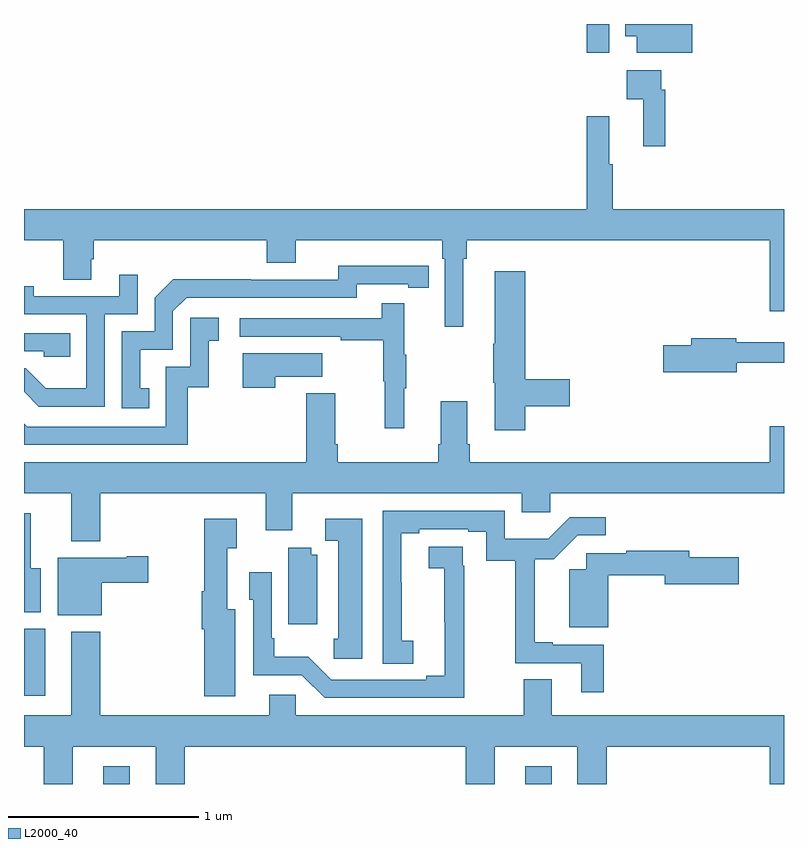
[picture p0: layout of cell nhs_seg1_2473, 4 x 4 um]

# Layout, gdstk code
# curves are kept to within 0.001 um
import gdstk
lib = gdstk.Library(unit=1e-6, precision=1e-09)
def R(c, l, rs):  # rectangles x0, y0, x1, y1
    for r in rs: c.add(gdstk.rectangle(r[:2], r[2:], *l))
def P(c, l, *ps):  # polygons
    for p in ps: c.add(gdstk.Polygon(p, *l))
L2000_40 = (2000, 40)

nhs_seg1_2473 = lib.new_cell('nhs_seg1_2473')
R(nhs_seg1_2473, L2000_40, [(245.417,554.199,245.557,554.293), (247.637,554.199,247.777,554.293), (245,554.664,245.113,555.016), (247.963,558.048,248.079,558.199)])
P(nhs_seg1_2473, L2000_40, [(248.518,558.199),(248.164,558.199),(248.164,558.134),(248.225,558.134),(248.225,558.047),(248.518,558.047)],
  [(248.375,557.852),(248.355,557.852),(248.355,557.956),(248.172,557.956),(248.172,557.804),(248.258,557.804),(248.258,557.556),(248.375,557.556)],
  [(245,557.06),(245.206,557.06),(245.206,556.852),(245.353,556.852),(245.353,556.962),(245.366,556.962),(245.366,557.06),(246.278,557.06),(246.278,556.943),(246.43,556.943),(246.43,557.06),(247.202,557.06),(247.202,556.964),(247.215,556.964),(247.215,556.605),(247.312,556.605),(247.312,556.964),(247.331,556.964),(247.331,557.06),(248.924,557.06),(248.924,556.686),(249,556.686),(249,557.224),(248.099,557.224),(248.099,557.46),(248.081,557.46),(248.081,557.713),(247.963,557.713),(247.963,557.224),(245,557.224)],
  [(245.66,556.281),(245.611,556.281),(245.611,556.485),(245.784,556.485),(245.784,556.686),(245.856,556.758),(246.75,556.758),(246.75,556.83),(247.022,556.83),(247.022,556.81),(247.13,556.81),(247.13,556.926),(246.654,556.927),(246.654,556.854),(246.194,556.854),(246.194,556.856),(245.786,556.856),(245.688,556.758),(245.688,556.581),(245.514,556.581),(245.514,556.176),(245.66,556.176)],
  [(247.637,556.186),(247.873,556.186),(247.873,556.328),(247.637,556.328),(247.637,556.897),(247.478,556.897),(247.478,556.517),(247.471,556.517),(247.471,556.311),(247.478,556.311),(247.478,556.062),(247.637,556.062)],
  [(245.424,556.671),(245.598,556.671),(245.598,556.879),(245.501,556.879),(245.501,556.767),(245.05,556.767),(245.05,556.819),(245,556.819),(245,556.671),(245.328,556.671),(245.328,556.282),(245.114,556.282),(245.01,556.386),(245,556.386),(245,556.263),(245.078,556.185),(245.424,556.185)],
  [(247.001,556.283),(247.012,556.283),(247.012,556.457),(247.001,556.457),(247.001,556.729),(246.883,556.729),(246.883,556.65),(246.135,556.65),(246.135,556.554),(246.667,556.554),(246.667,556.534),(246.891,556.534),(246.891,556.32),(246.898,556.32),(246.898,556.071),(247.001,556.071)],
  [(245.861,556.287),(245.972,556.287),(245.972,556.533),(246.025,556.533),(246.025,556.654),(245.874,556.654),(245.874,556.395),(245.745,556.395),(245.745,556.08),(245.016,556.08),(245,556.096),(245,555.984),(245.861,555.984)],
  [(245.243,556.572),(245,556.572),(245,556.476),(245.103,556.476),(245.103,556.449),(245.243,556.449)],
  [(248.752,556.416),(249,556.416),(249,556.525),(248.748,556.525),(248.748,556.544),(248.513,556.544),(248.513,556.508),(248.364,556.508),(248.364,556.366),(248.752,556.366)],
  [(246.323,556.343),(246.571,556.343),(246.571,556.465),(246.152,556.465),(246.152,556.284),(246.323,556.284)],
  [(245,555.728),(245.249,555.728),(245.249,555.476),(245.402,555.476),(245.402,555.728),(246.272,555.728),(246.272,555.534),(246.412,555.534),(246.412,555.728),(247.619,555.728),(247.619,555.63),(247.771,555.63),(247.771,555.728),(249,555.728),(249,556.081),(248.924,556.081),(248.924,555.892),(247.346,555.892),(247.346,555.988),(247.333,555.988),(247.333,556.213),(247.193,556.213),(247.193,555.988),(247.181,555.988),(247.181,555.892),(246.65,555.892),(246.65,555.988),(246.637,555.988),(246.637,556.255),(246.485,556.255),(246.485,555.892),(245,555.892)],
  [(248.051,554.931),(247.783,554.931),(247.783,554.944),(247.688,554.944),(247.688,555.381),(247.787,555.381),(247.914,555.507),(248.062,555.507),(248.062,555.603),(247.872,555.603),(247.759,555.49),(247.53,555.49),(247.53,555.636),(246.888,555.636),(246.888,554.833),(247.048,554.833),(247.048,554.953),(246.987,554.953),(246.987,555.257),(246.985,555.257),(246.985,555.52),(247.081,555.52),(247.081,555.54),(247.337,555.54),(247.337,555.526),(247.434,555.526),(247.434,555.373),(247.585,555.373),(247.585,554.835),(247.934,554.835),(247.934,554.682),(248.051,554.682)],
  [(245.089,555.334),(245.035,555.334),(245.035,555.625),(245,555.625),(245,555.104),(245.089,555.104)],
  [(246.112,555.118),(246.07,555.118),(246.07,555.439),(246.121,555.439),(246.121,555.595),(245.948,555.595),(245.948,555.214),(245.936,555.214),(245.936,555.014),(245.948,555.014),(245.948,554.661),(246.112,554.661)],
  [(246.781,555.595),(246.585,555.595),(246.585,555.48),(246.653,555.48),(246.653,554.964),(246.631,554.964),(246.631,554.859),(246.781,554.859)],
  [(247.316,555.347),(247.31,555.347),(247.31,555.449),(247.131,555.449),(247.131,555.334),(247.213,555.334),(247.214,554.768),(247.118,554.768),(247.118,554.748),(246.618,554.748),(246.497,554.869),(246.316,554.869),(246.316,554.965),(246.303,554.965),(246.303,555.313),(246.186,555.313),(246.186,555.168),(246.207,555.168),(246.207,554.772),(246.462,554.772),(246.582,554.652),(247.316,554.652)],
  [(246.544,555.406),(246.512,555.406),(246.512,555.443),(246.392,555.443),(246.392,555.039),(246.544,555.039)],
  [(248.074,555.298),(248.372,555.298),(248.372,555.251),(248.761,555.251),(248.761,555.393),(248.5,555.393),(248.5,555.427),(248.17,555.427),(248.17,555.414),(247.959,555.414),(247.959,555.328),(247.871,555.328),(247.871,555.023),(248.074,555.023)],
  [(245.41,555.257),(245.653,555.257),(245.653,555.399),(245.54,555.399),(245.54,555.391),(245.177,555.391),(245.177,555.086),(245.41,555.086)],
  [(245.257,554.396),(245.693,554.396),(245.693,554.199),(245.846,554.199),(245.846,554.396),(247.325,554.396),(247.325,554.199),(247.477,554.199),(247.477,554.396),(247.913,554.396),(247.913,554.199),(248.066,554.199),(248.066,554.396),(248.924,554.396),(248.924,554.199),(249,554.199),(249,554.56),(247.777,554.56),(247.777,554.75),(247.63,554.75),(247.63,554.56),(246.429,554.56),(246.429,554.67),(246.29,554.67),(246.29,554.56),(245.402,554.56),(245.402,555.001),(245.249,555.001),(245.249,554.56),(245,554.56),(245,554.396),(245.105,554.396),(245.105,554.199),(245.257,554.199)])

lib.write_gds('nhs_seg1_2473.gds')
